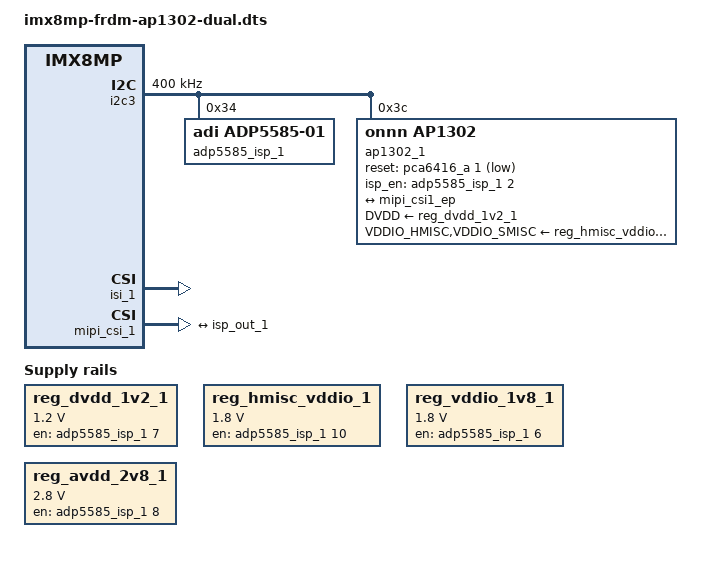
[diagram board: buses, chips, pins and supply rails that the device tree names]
// SPDX-License-Identifier: (GPL-2.0+ OR MIT)
/*
 * Copyright 2025 NXP
 */

#include "imx8mp-frdm.dts"

/ {
    reg_dvdd_1v2_1: regulator-dvdd_1 {
		compatible = "regulator-fixed";
		regulator-name = "DVDD_1V2";
		gpio = <&adp5585_isp_1 7 GPIO_ACTIVE_HIGH>;
		regulator-min-microvolt = <1200000>;
		regulator-max-microvolt = <1200000>;
		enable-active-high;
	};

	reg_hmisc_vddio_1: regulator-hmisc-vddio_1 {
		compatible = "regulator-fixed";
		regulator-name = "HMISC_VDDIO_1V8";
		gpio = <&adp5585_isp_1 10 GPIO_ACTIVE_HIGH>;
		regulator-min-microvolt = <1800000>;
		regulator-max-microvolt = <1800000>;
		enable-active-high;
	};

	reg_vddio_1v8_1: regulator-vddo_1 {
		compatible = "regulator-fixed";
		regulator-name = "VDDIO_1V8";
		gpio = <&adp5585_isp_1 6 GPIO_ACTIVE_HIGH>;
		regulator-min-microvolt = <1800000>;
		regulator-max-microvolt = <1800000>;
		startup-delay-us = <4000>;
		enable-active-high;
	};

	reg_avdd_2v8_1: regulator-avdd_1 {
		compatible = "regulator-fixed";
		regulator-name = "AVDD_2V8";
		gpio = <&adp5585_isp_1 8 GPIO_ACTIVE_HIGH>;
		regulator-min-microvolt = <2800000>;
		regulator-max-microvolt = <2800000>;
		enable-active-high;
	};
};

&i2c3 {
	clock-frequency = <400000>;
	pinctrl-names = "default";
	pinctrl-0 = <&pinctrl_i2c3>;
	status = "okay";

	adp5585_isp_1: io-expander-isp@34 {
		compatible = "adi,adp5585-01", "adi,adp5585";
		reg = <0x34>;
		gpio-controller;
		#gpio-cells = <2>;
		#pwm-cells = <3>;
	};

	ap1302_1: ap1302_mipi_1@3c {
		compatible = "onnn,ap1302";
		reg = <0x3c>;
		clocks = <&clk IMX8MP_CLK_24M>;
		reset-gpios   = <&pca6416_a 1 GPIO_ACTIVE_LOW>;
		isp_en-gpios  = <&adp5585_isp_1 2 GPIO_ACTIVE_HIGH>;
		orientation = <2>;
		rotation = <0>;
		DVDD-supply   = <&reg_dvdd_1v2_1>;
		VDDIO_HMISC-supply  = <&reg_hmisc_vddio_1>;
		VDDIO_SMISC-supply   = <&reg_hmisc_vddio_1>;
		status = "okay";

		ports {
			#address-cells = <1>;
			#size-cells = <0>;

			port@0 {
				reg = <0>;
			};

			port@1 {
				reg = <1>;
			};

			port@2 {
				reg = <2>;
				isp_out_1: endpoint {
					remote-endpoint = <&mipi_csi1_ep>;
					data-lanes = <1 2 3 4>;
					clock-lanes = <0>;
				};
			};
		};

		sensors {
			#address-cells = <1>;
			#size-cells = <0>;

			onnn,model = "onnn,ar0144";

			sensor@0 {
				reg = <0>;

				vdd-supply = <&reg_dvdd_1v2_1>;
				vddio-supply = <&reg_vddio_1v8_1>;
				vaa-supply = <&reg_avdd_2v8_1>;
			};
		};
	};
};

&isi_1 {
	status = "okay";

	cap_device {
		status = "okay";
	};

	m2m_device {
		status = "okay";
	};
};

&mipi_csi_1 {
	#address-cells = <1>;
	#size-cells = <0>;
	status = "okay";

	port@1 {
		reg = <1>;
		mipi_csi1_ep: endpoint {
			remote-endpoint = <&isp_out_1>;
			data-lanes = <4>;
			csis-hs-settle = <13>;
			csis-clk-settle = <2>;
			csis-wclk;
		};
	};
};
